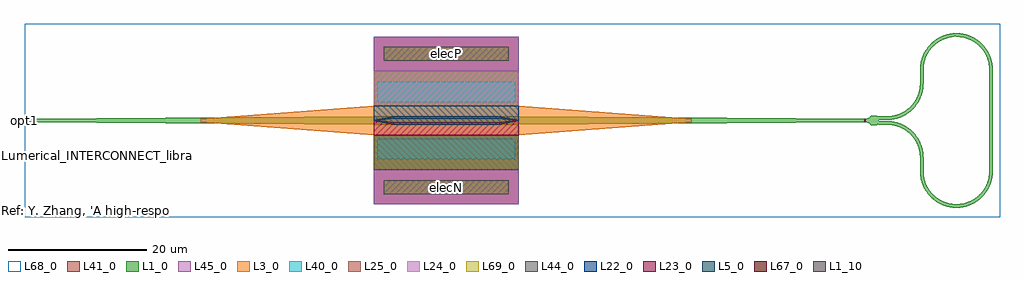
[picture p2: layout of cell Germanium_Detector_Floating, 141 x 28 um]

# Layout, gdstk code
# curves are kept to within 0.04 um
from math import pi, radians
import gdstk
lib = gdstk.Library(unit=1e-6, precision=1e-09)
def R(c, l, rs):  # rectangles x0, y0, x1, y1
    for r in rs: c.add(gdstk.rectangle(r[:2], r[2:], *l))
def P(c, l, *ps):  # polygons
    for p in ps: c.add(gdstk.Polygon(p, *l))
L1_0 = (1, 0)
L1_10 = (1, 10)
L3_0 = (3, 0)
L5_0 = (5, 0)
L22_0 = (22, 0)
L23_0 = (23, 0)
L24_0 = (24, 0)
L25_0 = (25, 0)
L40_0 = (40, 0)
L41_0 = (41, 0)
L44_0 = (44, 0)
L45_0 = (45, 0)
L67_0 = (67, 0)
L68_0 = (68, 0)
L69_0 = (69, 0)

compact_ybranch = lib.new_cell('Compact_YBranch')
R(compact_ybranch, L1_0, [(-0.25,-0.1,0.25,0), (-0.6,2,-0.1,2.2), (0.1,2,0.6,2.2)])
P(compact_ybranch, L1_0, [(-0.683,0.923),(-0.702,1.48),(-0.6,2),(0.6,2),(0.702,1.48),(0.683,0.923)],
  [(-0.264,0.225),(-0.395,0.596),(-0.683,0.923),(0.683,0.923),(0.395,0.596),(0.264,0.225)],
  [(-0.25,0),(-0.264,0.225),(0.264,0.225),(0.25,0)])
R(compact_ybranch, L67_0, [(-0.253,-0.1,0.253,0.1)])

highrdet_15_np_1_25_loop = lib.new_cell('HighRDet_15_Np_1_25_LoopMirror')
R(highrdet_15_np_1_25_loop, L1_0, [(129.45,-7.35,129.95,-5.35), (139.45,-7.35,139.95,7.35), (50.5,-7.125,71.5,-2.125), (50.5,-0.625,71.5,0.625), (123.7,-0.6,124.7,-0.1), (0.1,-0.25,0.5,0.25), (123.7,0.1,124.7,0.6), (50.5,2.125,71.5,7.125), (129.45,5.35,129.95,7.35)])
P(highrdet_15_np_1_25_loop, L1_0, [(124.7,0.1),(124.7,0.6),(125.641,0.694),(126.49,0.95),(127.327,1.392),(128.017,1.949),(128.625,2.674),(129.054,3.45),(129.344,4.351),(129.45,5.35),(129.95,5.35),(129.855,4.358),(129.55,3.341),(129.12,2.517),(128.459,1.685),(127.699,1.041),(126.709,0.5),(125.692,0.195)],
  [(124.7,0.1),(125.561,0.171),(125.429,0.151),(125.363,0.142),(125.297,0.134),(125.231,0.127),(125.099,0.115),(125.032,0.111),(124.966,0.107),(124.899,0.104),(124.833,0.102),(124.766,0.1)],
  [(129.963,7.705),(129.465,7.749),(129.671,8.858),(130.176,10.013),(130.941,11.015),(131.701,11.659),(132.691,12.2),(133.708,12.505),(134.7,12.6),(134.7,12.1),(133.701,11.994),(132.8,11.704),(132.024,11.275),(131.299,10.667),(130.775,10.026),(130.37,9.304),(130.082,8.465)],
  [(129.45,7.35),(129.465,7.749),(129.963,7.705),(129.95,7.35)],
  [(139.437,7.705),(139.318,8.465),(139.03,9.304),(138.625,10.026),(138.101,10.667),(137.376,11.275),(136.6,11.704),(135.699,11.994),(134.7,12.1),(134.7,12.6),(135.692,12.505),(136.709,12.2),(137.699,11.659),(138.459,11.015),(139.224,10.013),(139.729,8.858),(139.935,7.749)],
  [(139.45,7.35),(139.437,7.705),(139.935,7.749),(139.95,7.35)],
  [(134.7,-12.6),(134.7,-12.1),(135.641,-12.006),(136.49,-11.75),(137.327,-11.308),(138.017,-10.751),(138.625,-10.026),(139.054,-9.25),(139.344,-8.349),(139.45,-7.35),(139.95,-7.35),(139.855,-8.342),(139.55,-9.359),(139.12,-10.183),(138.459,-11.015),(137.699,-11.659),(136.709,-12.2),(135.692,-12.505)],
  [(134.7,-12.6),(135.561,-12.529),(135.429,-12.549),(135.363,-12.558),(135.297,-12.566),(135.231,-12.573),(135.099,-12.585),(135.032,-12.589),(134.966,-12.593),(134.899,-12.596),(134.833,-12.598),(134.766,-12.6)],
  [(134.7,-12.6),(133.708,-12.505),(132.691,-12.2),(131.867,-11.77),(131.035,-11.109),(130.391,-10.349),(129.85,-9.359),(129.545,-8.342),(129.45,-7.35),(129.95,-7.35),(130.044,-8.291),(130.3,-9.14),(130.742,-9.977),(131.299,-10.667),(132.024,-11.275),(132.8,-11.704),(133.701,-11.994),(134.7,-12.1)],
  [(134.634,-12.6),(134.567,-12.598),(134.501,-12.596),(134.434,-12.593),(134.368,-12.589),(134.301,-12.585),(134.169,-12.573),(134.103,-12.566),(134.037,-12.558),(133.971,-12.549),(133.839,-12.529),(134.7,-12.6)],
  [(129.437,-4.995),(129.318,-4.235),(129.03,-3.396),(128.625,-2.674),(128.101,-2.033),(127.376,-1.425),(126.6,-0.996),(125.699,-0.706),(124.7,-0.6),(124.7,-0.1),(125.692,-0.195),(126.709,-0.5),(127.699,-1.041),(128.459,-1.685),(129.224,-2.687),(129.729,-3.842),(129.935,-4.951)],
  [(129.45,-5.35),(129.437,-4.995),(129.935,-4.951),(129.95,-5.35)],
  [(71.5,-0.625),(71.5,0.625),(121.5,0.25),(121.5,-0.25)],
  [(50.5,-0.625),(0.5,-0.25),(0.5,0.25),(50.5,0.625)])
R(highrdet_15_np_1_25_loop, L3_0, [(50.5,-2.125,71.5,2.125)])
P(highrdet_15_np_1_25_loop, L3_0, [(71.5,-2.125),(71.5,2.125),(96.5,0.25),(96.5,-0.25)],
  [(50.5,-2.125),(25.5,-0.25),(25.5,0.25),(50.5,2.125)])
P(highrdet_15_np_1_25_loop, L5_0, [(53.5,-0.625),(50.5,-0.1),(50.5,0.1),(53.5,0.625),(68.5,0.625),(71.5,0.1),(71.5,-0.1),(68.5,-0.625)])
R(highrdet_15_np_1_25_loop, L22_0, [(50.5,0.625,71.5,2.125)])
P(highrdet_15_np_1_25_loop, L22_0, [(50.5,0),(50.5,2.125),(71.5,2.125),(71.5,0),(70.5,0),(68.5,0.275),(53.5,0.275),(51.5,0)])
R(highrdet_15_np_1_25_loop, L23_0, [(50.5,-2.125,71.5,-0.625)])
P(highrdet_15_np_1_25_loop, L23_0, [(50.5,-2.125),(50.5,0),(51.5,0),(53.5,-0.275),(68.5,-0.275),(70.5,0),(71.5,0),(71.5,-2.125)])
R(highrdet_15_np_1_25_loop, L24_0, [(50.5,2.125,71.5,7.125)])
R(highrdet_15_np_1_25_loop, L25_0, [(50.5,-7.125,71.5,-2.125)])
R(highrdet_15_np_1_25_loop, L40_0, [(51,-5.625,71,-2.625), (51,2.625,71,5.625)])
R(highrdet_15_np_1_25_loop, L41_0, [(50.5,-12.125,71.5,-2.125), (50.5,2.125,71.5,12.125)])
R(highrdet_15_np_1_25_loop, L44_0, [(52,-10.625,70,-8.625), (52,8.625,70,10.625)])
R(highrdet_15_np_1_25_loop, L45_0, [(50.5,-12.125,71.5,-7.125), (50.5,7.125,71.5,12.125)])
highrdet_15_np_1_25_loop.add(gdstk.Reference(compact_ybranch, (121.5,0), rotation=3*pi/2))

germanium_detector_float = lib.new_cell('Germanium_Detector_Floating')
R(germanium_detector_float, L68_0, [(0.1,-14,141,14)])
R(germanium_detector_float, L69_0, [(52,-10.625,70,-8.625), (52,8.625,70,10.625)])
germanium_detector_float.add(gdstk.FlexPath([(0.2,0),(0,0)], 0.5, ends="flush", simple_path=True, layer=1, datatype=10))  # L1_10
germanium_detector_float.add(gdstk.Reference(highrdet_15_np_1_25_loop, (0,0)))
germanium_detector_float.add(gdstk.Label('Lumerical_INTERCONNECT_library=Design kits/GSiP', (2,-5), layer=68, texttype=0))
germanium_detector_float.add(gdstk.Label('opt1', (0.1,0), layer=1, texttype=10))
germanium_detector_float.add(gdstk.Label("Ref: Y. Zhang, 'A high-responsivity photodetector absent metal-germanium direct contact', Opt. Exp., 2014, https://doi.org/10.1364/OE.22.011367", (2,-13), layer=66, texttype=0))
germanium_detector_float.add(gdstk.Label('elecN', (61,-9.625), layer=69, texttype=0))
germanium_detector_float.add(gdstk.Label('elecP', (61,9.625), layer=69, texttype=0))

lib.write_gds('Germanium_Detector_Floating.gds')
